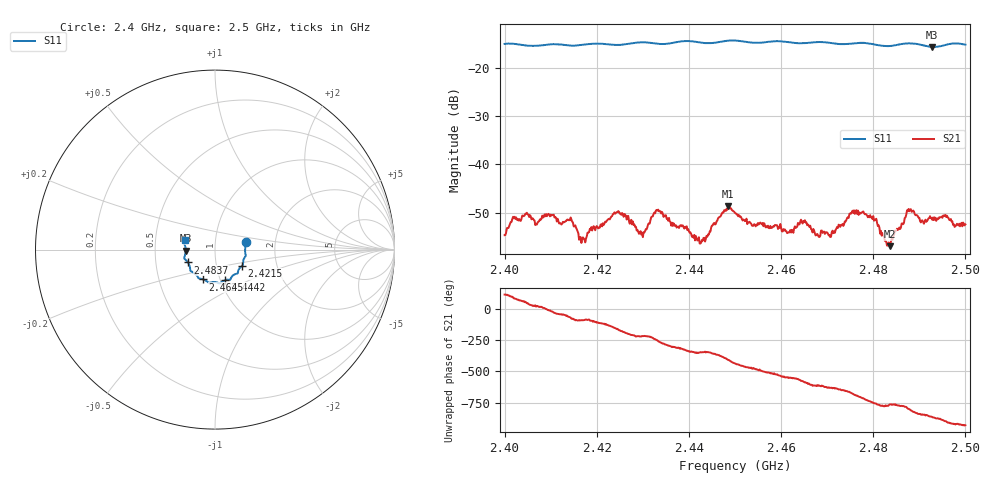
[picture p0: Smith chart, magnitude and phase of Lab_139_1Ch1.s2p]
# Hz S RI R 50
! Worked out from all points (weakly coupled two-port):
!   601 points, 2.4 GHz to 2.5 GHz, reference 50 ohm
!   highest |S21| = -48.63 dB at 2.4485 GHz (marker M1); lowest = -56.9 dB at 2.4837 GHz (marker M2)
!   lowest |S11| = -15.7 dB at 2.4928 GHz (marker M3), VSWR 1.39, Z = 35.9 - j0.372 ohm
!   |S11| at or under -10 dB: start of sweep to end of sweep
!   S12 and S22 are empty: the file has one direction only
!   S11 on the Smith chart (normalised r, x): 2.4 GHz: 1.41, +0.12; 2.4215 GHz: 1.33, -0.25; 2.4442 GHz: 1.05, -0.37; 2.4645 GHz: 0.83, -0.29; 2.4837 GHz: 0.73, -0.11; 2.5 GHz: 0.71, +0.07
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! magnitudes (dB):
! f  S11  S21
! 2.4 GHz  -15.1  -54.6
! 2.402 GHz  -15.1  -51.1
! 2.41 GHz  -15.2  -50.4
! 2.4167 GHz  -15.3  -56.2
! 2.4215 GHz  -15.1  -52.5
! 2.4247 GHz  -15.3  -49.6
! 2.4297 GHz  -14.8  -54.5
! 2.4333 GHz  -15.1  -49.3
! 2.4422 GHz  -14.8  -55.0
! 2.4442 GHz  -15.0  -54.4
! 2.4485 GHz  -14.4  -48.6
! 2.45 GHz  -14.4  -50.0
! 2.4617 GHz  -14.7  -54.0
! 2.4645 GHz  -15.0  -51.9
! 2.4667 GHz  -14.8  -53.5
! 2.4708 GHz  -14.9  -54.9
! 2.4775 GHz  -14.9  -49.9
! 2.4833 GHz  -15.6  -56.1
! 2.4837 GHz  -15.5  -56.9
! 2.4877 GHz  -15.0  -49.2
! 2.4928 GHz  -15.7  -51.5
! 2.5 GHz  -15.3  -52.4
